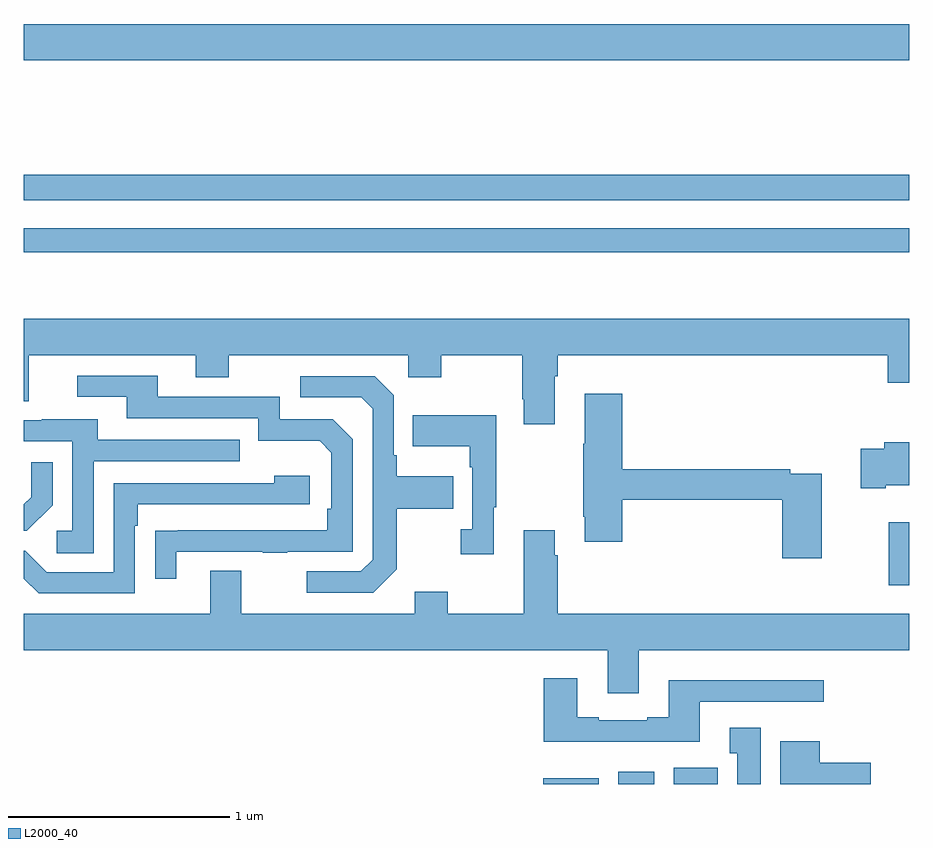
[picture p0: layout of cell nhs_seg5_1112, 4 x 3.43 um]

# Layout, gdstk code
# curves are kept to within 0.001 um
import gdstk
lib = gdstk.Library(unit=1e-6, precision=1e-09)
def R(c, l, rs):  # rectangles x0, y0, x1, y1
    for r in rs: c.add(gdstk.rectangle(r[:2], r[2:], *l))
def P(c, l, *ps):  # polygons
    for p in ps: c.add(gdstk.Polygon(p, *l))
L2000_40 = (2000, 40)

nhs_seg5_1112 = lib.new_cell('nhs_seg5_1112')
R(nhs_seg5_1112, L2000_40, [(181.346,878.799,181.597,878.824), (181.685,878.799,181.849,878.854), (181.937,878.799,182.134,878.872), (182.908,879.696,183,879.982), (179,881.202,183,881.31), (179,881.436,183,881.552), (179,882.068,183,882.232)])
P(nhs_seg5_1112, L2000_40, [(181.399,880.64),(181.412,880.64),(181.412,880.736),(182.903,880.736),(182.903,880.612),(183,880.612),(183,880.9),(179,880.9),(179,880.528),(179.023,880.528),(179.023,880.736),(179.777,880.736),(179.777,880.637),(179.925,880.637),(179.925,880.736),(180.738,880.736),(180.738,880.637),(180.885,880.637),(180.885,880.736),(181.252,880.736),(181.252,880.537),(181.259,880.537),(181.259,880.425),(181.399,880.425)],
  [(179.689,879.849),(180.079,879.849),(180.079,879.844),(180.191,879.844),(180.191,879.849),(180.486,879.849),(180.486,880.356),(180.396,880.446),(180.156,880.446),(180.156,880.548),(179.605,880.548),(179.605,880.644),(179.241,880.644),(179.241,880.548),(179.465,880.548),(179.465,880.452),(180.06,880.452),(180.06,880.349),(180.337,880.349),(180.39,880.296),(180.39,880.042),(180.37,880.042),(180.37,879.945),(179.593,879.944),(179.593,879.726),(179.689,879.726)],
  [(180.685,879.769),(180.685,880.042),(180.941,880.042),(180.941,880.189),(180.685,880.189),(180.685,880.285),(180.672,880.285),(180.672,880.554),(180.585,880.641),(180.249,880.641),(180.249,880.545),(180.525,880.545),(180.576,880.494),(180.576,879.813),(180.522,879.759),(180.279,879.759),(180.279,879.663),(180.579,879.663)],
  [(182.604,880.2),(182.462,880.2),(182.462,880.22),(181.703,880.22),(181.703,880.561),(181.535,880.561),(181.535,880.337),(181.528,880.337),(181.528,880.006),(181.535,880.006),(181.535,879.894),(181.703,879.894),(181.703,880.084),(182.426,880.084),(182.426,879.819),(182.604,879.819)],
  [(181.123,880.049),(181.135,880.049),(181.135,880.465),(180.757,880.465),(180.757,880.325),(181.014,880.325),(181.014,880.229),(181.026,880.229),(181.026,879.95),(180.975,879.95),(180.975,879.837),(181.123,879.837)],
  [(179.316,880.257),(179.975,880.257),(179.975,880.353),(179.335,880.353),(179.335,880.447),(179.081,880.447),(179.081,880.443),(179,880.443),(179,880.347),(179.22,880.347),(179.22,879.942),(179.148,879.942),(179.148,879.841),(179.316,879.841)],
  [(182.893,880.148),(183,880.148),(183,880.342),(182.888,880.342),(182.888,880.314),(182.781,880.314),(182.781,880.136),(182.893,880.136)],
  [(179.13,880.058),(179.13,880.252),(179.033,880.252),(179.033,880.095),(179,880.062),(179,879.942),(179.014,879.942)],
  [(179.502,879.965),(179.515,879.965),(179.515,880.062),(180.292,880.062),(180.292,880.192),(180.131,880.192),(180.131,880.158),(179.406,880.158),(179.406,879.756),(179.103,879.756),(179.007,879.852),(179,879.852),(179,879.727),(179.067,879.66),(179.502,879.66)],
  [(181.777,879.404),(183,879.404),(183,879.568),(181.412,879.568),(181.412,879.833),(181.399,879.833),(181.399,879.946),(181.259,879.946),(181.259,879.568),(180.915,879.568),(180.915,879.667),(180.767,879.667),(180.767,879.568),(179.983,879.568),(179.983,879.763),(179.843,879.763),(179.843,879.568),(179,879.568),(179,879.404),(181.637,879.404),(181.637,879.21),(181.777,879.21)],
  [(182.053,879.171),(182.614,879.171),(182.614,879.268),(181.913,879.268),(181.913,879.1),(181.817,879.1),(181.817,879.087),(181.597,879.087),(181.597,879.1),(181.501,879.1),(181.501,879.277),(181.349,879.277),(181.349,878.99),(182.053,878.99)],
  [(182.329,879.052),(182.189,879.052),(182.189,878.939),(182.222,878.939),(182.222,878.799),(182.329,878.799)],
  [(182.827,878.894),(182.596,878.894),(182.596,878.992),(182.417,878.992),(182.417,878.799),(182.827,878.799)])

lib.write_gds('nhs_seg5_1112.gds')
